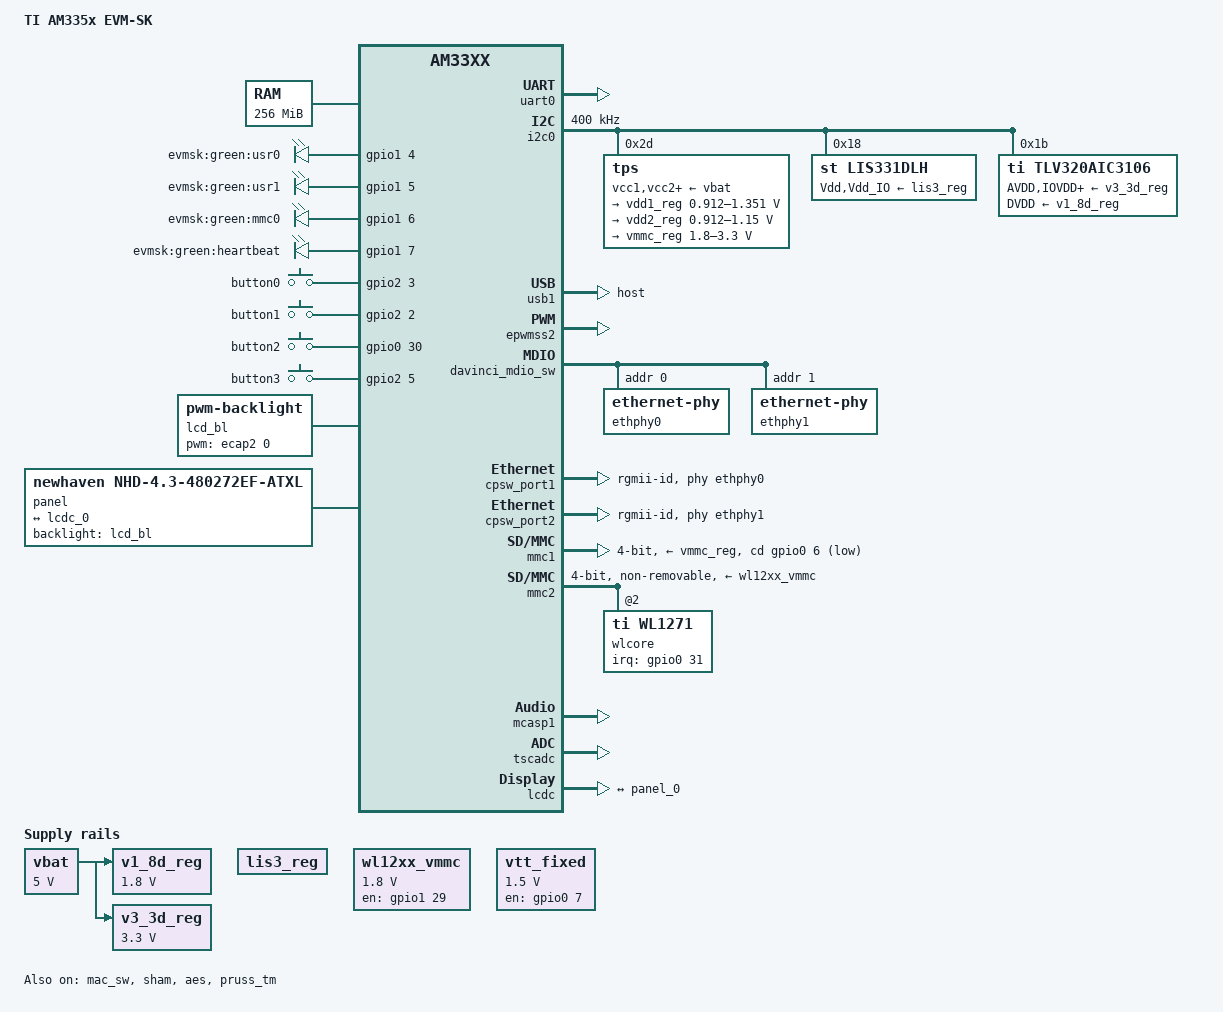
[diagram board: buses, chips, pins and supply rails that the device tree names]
// SPDX-License-Identifier: GPL-2.0-only
/*
 * Copyright (C) 2012 Texas Instruments Incorporated - https://www.ti.com/
 */

/*
 * AM335x Starter Kit
 * http://www.ti.com/tool/tmdssk3358
 */

/dts-v1/;

#include "am33xx.dtsi"
#include <dt-bindings/pwm/pwm.h>
#include <dt-bindings/interrupt-controller/irq.h>

/ {
	model = "TI AM335x EVM-SK";
	compatible = "ti,am335x-evmsk", "ti,am33xx";

	cpus {
		cpu@0 {
			cpu0-supply = <&vdd1_reg>;
		};
	};

	memory@80000000 {
		device_type = "memory";
		reg = <0x80000000 0x10000000>; /* 256 MB */
	};

	chosen {
		stdout-path = &uart0;
	};

	vbat: fixedregulator0 {
		compatible = "regulator-fixed";
		regulator-name = "vbat";
		regulator-min-microvolt = <5000000>;
		regulator-max-microvolt = <5000000>;
		regulator-boot-on;
	};

	lis3_reg: fixedregulator1 {
		compatible = "regulator-fixed";
		regulator-name = "lis3_reg";
		regulator-boot-on;
	};

	wl12xx_vmmc: fixedregulator2 {
		pinctrl-names = "default";
		pinctrl-0 = <&wl12xx_gpio>;
		compatible = "regulator-fixed";
		regulator-name = "vwl1271";
		regulator-min-microvolt = <1800000>;
		regulator-max-microvolt = <1800000>;
		gpio = <&gpio1 29 0>;
		startup-delay-us = <70000>;
		enable-active-high;
	};

	vtt_fixed: fixedregulator3 {
		compatible = "regulator-fixed";
		regulator-name = "vtt";
		regulator-min-microvolt = <1500000>;
		regulator-max-microvolt = <1500000>;
		gpio = <&gpio0 7 GPIO_ACTIVE_HIGH>;
		regulator-always-on;
		regulator-boot-on;
		enable-active-high;
	};

	/* TPS79518 */
	v1_8d_reg: fixedregulator-v1_8d {
		compatible = "regulator-fixed";
		regulator-name = "v1_8d";
		vin-supply = <&vbat>;
		regulator-min-microvolt = <1800000>;
		regulator-max-microvolt = <1800000>;
	};

	/* TPS78633 */
	v3_3d_reg: fixedregulator-v3_3d {
		compatible = "regulator-fixed";
		regulator-name = "v3_3d";
		vin-supply = <&vbat>;
		regulator-min-microvolt = <3300000>;
		regulator-max-microvolt = <3300000>;
	};

	leds {
		pinctrl-names = "default";
		pinctrl-0 = <&user_leds_s0>;

		compatible = "gpio-leds";

		led1 {
			label = "evmsk:green:usr0";
			gpios = <&gpio1 4 GPIO_ACTIVE_HIGH>;
			default-state = "off";
		};

		led2 {
			label = "evmsk:green:usr1";
			gpios = <&gpio1 5 GPIO_ACTIVE_HIGH>;
			default-state = "off";
		};

		led3 {
			label = "evmsk:green:mmc0";
			gpios = <&gpio1 6 GPIO_ACTIVE_HIGH>;
			linux,default-trigger = "mmc0";
			default-state = "off";
		};

		led4 {
			label = "evmsk:green:heartbeat";
			gpios = <&gpio1 7 GPIO_ACTIVE_HIGH>;
			linux,default-trigger = "heartbeat";
			default-state = "off";
		};
	};

	gpio_buttons: gpio_buttons0 {
		compatible = "gpio-keys";
		#address-cells = <1>;
		#size-cells = <0>;

		switch1 {
			label = "button0";
			linux,code = <0x100>;
			gpios = <&gpio2 3 GPIO_ACTIVE_HIGH>;
		};

		switch2 {
			label = "button1";
			linux,code = <0x101>;
			gpios = <&gpio2 2 GPIO_ACTIVE_HIGH>;
		};

		switch3 {
			label = "button2";
			linux,code = <0x102>;
			gpios = <&gpio0 30 GPIO_ACTIVE_HIGH>;
			wakeup-source;
		};

		switch4 {
			label = "button3";
			linux,code = <0x103>;
			gpios = <&gpio2 5 GPIO_ACTIVE_HIGH>;
		};
	};

	lcd_bl: backlight {
		compatible = "pwm-backlight";
		pwms = <&ecap2 0 50000 PWM_POLARITY_INVERTED>;
		brightness-levels = <0 58 61 66 75 90 125 170 255>;
		default-brightness-level = <8>;
	};

	sound {
		compatible = "simple-audio-card";
		simple-audio-card,name = "AM335x-EVMSK";
		simple-audio-card,widgets =
			"Headphone", "Headphone Jack";
		simple-audio-card,routing =
			"Headphone Jack",	"HPLOUT",
			"Headphone Jack",	"HPROUT";
		simple-audio-card,format = "dsp_b";
		simple-audio-card,bitclock-master = <&sound_master>;
		simple-audio-card,frame-master = <&sound_master>;
		simple-audio-card,bitclock-inversion;

		simple-audio-card,cpu {
			sound-dai = <&mcasp1>;
		};

		sound_master: simple-audio-card,codec {
			sound-dai = <&tlv320aic3106>;
			system-clock-frequency = <24000000>;
		};
	};

	panel {
		compatible = "newhaven,nhd-4.3-480272ef-atxl";

		pinctrl-names = "default", "sleep";
		pinctrl-0 = <&lcd_pins_default>;
		pinctrl-1 = <&lcd_pins_sleep>;
		backlight = <&lcd_bl>;

		port {
			panel_0: endpoint@0 {
				remote-endpoint = <&lcdc_0>;
			};
		};
	};
};

&am33xx_pinmux {
	pinctrl-names = "default";
	pinctrl-0 = <&gpio_keys_s0 &clkout2_pin>;

	lcd_pins_default: lcd_pins_default {
		pinctrl-single,pins = <
			AM33XX_PADCONF(AM335X_PIN_GPMC_AD8, PIN_OUTPUT, MUX_MODE1)	/* gpmc_ad8.lcd_data23 */
			AM33XX_PADCONF(AM335X_PIN_GPMC_AD9, PIN_OUTPUT, MUX_MODE1)	/* gpmc_ad9.lcd_data22 */
			AM33XX_PADCONF(AM335X_PIN_GPMC_AD10, PIN_OUTPUT, MUX_MODE1)	/* gpmc_ad10.lcd_data21 */
			AM33XX_PADCONF(AM335X_PIN_GPMC_AD11, PIN_OUTPUT, MUX_MODE1)	/* gpmc_ad11.lcd_data20 */
			AM33XX_PADCONF(AM335X_PIN_GPMC_AD12, PIN_OUTPUT, MUX_MODE1)	/* gpmc_ad12.lcd_data19 */
			AM33XX_PADCONF(AM335X_PIN_GPMC_AD13, PIN_OUTPUT, MUX_MODE1)	/* gpmc_ad13.lcd_data18 */
			AM33XX_PADCONF(AM335X_PIN_GPMC_AD14, PIN_OUTPUT, MUX_MODE1)	/* gpmc_ad14.lcd_data17 */
			AM33XX_PADCONF(AM335X_PIN_GPMC_AD15, PIN_OUTPUT, MUX_MODE1)	/* gpmc_ad15.lcd_data16 */
			AM33XX_PADCONF(AM335X_PIN_LCD_DATA0, PIN_OUTPUT, MUX_MODE0)
			AM33XX_PADCONF(AM335X_PIN_LCD_DATA1, PIN_OUTPUT, MUX_MODE0)
			AM33XX_PADCONF(AM335X_PIN_LCD_DATA2, PIN_OUTPUT, MUX_MODE0)
			AM33XX_PADCONF(AM335X_PIN_LCD_DATA3, PIN_OUTPUT, MUX_MODE0)
			AM33XX_PADCONF(AM335X_PIN_LCD_DATA4, PIN_OUTPUT, MUX_MODE0)
			AM33XX_PADCONF(AM335X_PIN_LCD_DATA5, PIN_OUTPUT, MUX_MODE0)
			AM33XX_PADCONF(AM335X_PIN_LCD_DATA6, PIN_OUTPUT, MUX_MODE0)
			AM33XX_PADCONF(AM335X_PIN_LCD_DATA7, PIN_OUTPUT, MUX_MODE0)
			AM33XX_PADCONF(AM335X_PIN_LCD_DATA8, PIN_OUTPUT, MUX_MODE0)
			AM33XX_PADCONF(AM335X_PIN_LCD_DATA9, PIN_OUTPUT, MUX_MODE0)
			AM33XX_PADCONF(AM335X_PIN_LCD_DATA10, PIN_OUTPUT, MUX_MODE0)
			AM33XX_PADCONF(AM335X_PIN_LCD_DATA11, PIN_OUTPUT, MUX_MODE0)
			AM33XX_PADCONF(AM335X_PIN_LCD_DATA12, PIN_OUTPUT, MUX_MODE0)
			AM33XX_PADCONF(AM335X_PIN_LCD_DATA13, PIN_OUTPUT, MUX_MODE0)
			AM33XX_PADCONF(AM335X_PIN_LCD_DATA14, PIN_OUTPUT, MUX_MODE0)
			AM33XX_PADCONF(AM335X_PIN_LCD_DATA15, PIN_OUTPUT, MUX_MODE0)
			AM33XX_PADCONF(AM335X_PIN_LCD_VSYNC, PIN_OUTPUT, MUX_MODE0)
			AM33XX_PADCONF(AM335X_PIN_LCD_HSYNC, PIN_OUTPUT, MUX_MODE0)
			AM33XX_PADCONF(AM335X_PIN_LCD_PCLK, PIN_OUTPUT, MUX_MODE0)
			AM33XX_PADCONF(AM335X_PIN_LCD_AC_BIAS_EN, PIN_OUTPUT, MUX_MODE0)
		>;
	};

	lcd_pins_sleep: lcd_pins_sleep {
		pinctrl-single,pins = <
			AM33XX_PADCONF(AM335X_PIN_GPMC_AD8, PIN_INPUT_PULLDOWN, MUX_MODE7)	/* gpmc_ad8.lcd_data23 */
			AM33XX_PADCONF(AM335X_PIN_GPMC_AD9, PIN_INPUT_PULLDOWN, MUX_MODE7)	/* gpmc_ad9.lcd_data22 */
			AM33XX_PADCONF(AM335X_PIN_GPMC_AD10, PIN_INPUT_PULLDOWN, MUX_MODE7)	/* gpmc_ad10.lcd_data21 */
			AM33XX_PADCONF(AM335X_PIN_GPMC_AD11, PIN_INPUT_PULLDOWN, MUX_MODE7)	/* gpmc_ad11.lcd_data20 */
			AM33XX_PADCONF(AM335X_PIN_GPMC_AD12, PIN_INPUT_PULLDOWN, MUX_MODE7)	/* gpmc_ad12.lcd_data19 */
			AM33XX_PADCONF(AM335X_PIN_GPMC_AD13, PIN_INPUT_PULLDOWN, MUX_MODE7)	/* gpmc_ad13.lcd_data18 */
			AM33XX_PADCONF(AM335X_PIN_GPMC_AD14, PIN_INPUT_PULLDOWN, MUX_MODE7)	/* gpmc_ad14.lcd_data17 */
			AM33XX_PADCONF(AM335X_PIN_GPMC_AD15, PIN_INPUT_PULLDOWN, MUX_MODE7)	/* gpmc_ad15.lcd_data16 */
			AM33XX_PADCONF(AM335X_PIN_LCD_DATA0, PULL_DISABLE, MUX_MODE7)
			AM33XX_PADCONF(AM335X_PIN_LCD_DATA1, PULL_DISABLE, MUX_MODE7)
			AM33XX_PADCONF(AM335X_PIN_LCD_DATA2, PULL_DISABLE, MUX_MODE7)
			AM33XX_PADCONF(AM335X_PIN_LCD_DATA3, PULL_DISABLE, MUX_MODE7)
			AM33XX_PADCONF(AM335X_PIN_LCD_DATA4, PULL_DISABLE, MUX_MODE7)
			AM33XX_PADCONF(AM335X_PIN_LCD_DATA5, PULL_DISABLE, MUX_MODE7)
			AM33XX_PADCONF(AM335X_PIN_LCD_DATA6, PULL_DISABLE, MUX_MODE7)
			AM33XX_PADCONF(AM335X_PIN_LCD_DATA7, PULL_DISABLE, MUX_MODE7)
			AM33XX_PADCONF(AM335X_PIN_LCD_DATA8, PULL_DISABLE, MUX_MODE7)
			AM33XX_PADCONF(AM335X_PIN_LCD_DATA9, PULL_DISABLE, MUX_MODE7)
			AM33XX_PADCONF(AM335X_PIN_LCD_DATA10, PULL_DISABLE, MUX_MODE7)
			AM33XX_PADCONF(AM335X_PIN_LCD_DATA11, PULL_DISABLE, MUX_MODE7)
			AM33XX_PADCONF(AM335X_PIN_LCD_DATA12, PULL_DISABLE, MUX_MODE7)
			AM33XX_PADCONF(AM335X_PIN_LCD_DATA13, PULL_DISABLE, MUX_MODE7)
			AM33XX_PADCONF(AM335X_PIN_LCD_DATA14, PULL_DISABLE, MUX_MODE7)
			AM33XX_PADCONF(AM335X_PIN_LCD_DATA15, PULL_DISABLE, MUX_MODE7)
			AM33XX_PADCONF(AM335X_PIN_LCD_VSYNC, PIN_INPUT_PULLDOWN, MUX_MODE7)
			AM33XX_PADCONF(AM335X_PIN_LCD_HSYNC, PIN_INPUT_PULLDOWN, MUX_MODE7)
			AM33XX_PADCONF(AM335X_PIN_LCD_PCLK, PIN_INPUT_PULLDOWN, MUX_MODE7)
			AM33XX_PADCONF(AM335X_PIN_LCD_AC_BIAS_EN, PIN_INPUT_PULLDOWN, MUX_MODE7)
		>;
	};


	user_leds_s0: user_leds_s0 {
		pinctrl-single,pins = <
			AM33XX_PADCONF(AM335X_PIN_GPMC_AD4, PIN_OUTPUT_PULLDOWN, MUX_MODE7)	/* gpmc_ad4.gpio1_4 */
			AM33XX_PADCONF(AM335X_PIN_GPMC_AD5, PIN_OUTPUT_PULLDOWN, MUX_MODE7)	/* gpmc_ad5.gpio1_5 */
			AM33XX_PADCONF(AM335X_PIN_GPMC_AD6, PIN_OUTPUT_PULLDOWN, MUX_MODE7)	/* gpmc_ad6.gpio1_6 */
			AM33XX_PADCONF(AM335X_PIN_GPMC_AD7, PIN_OUTPUT_PULLDOWN, MUX_MODE7)	/* gpmc_ad7.gpio1_7 */
		>;
	};

	gpio_keys_s0: gpio_keys_s0 {
		pinctrl-single,pins = <
			AM33XX_PADCONF(AM335X_PIN_GPMC_OEN_REN, PIN_INPUT_PULLDOWN, MUX_MODE7)	/* gpmc_oen_ren.gpio2_3 */
			AM33XX_PADCONF(AM335X_PIN_GPMC_ADVN_ALE, PIN_INPUT_PULLDOWN, MUX_MODE7)	/* gpmc_advn_ale.gpio2_2 */
			AM33XX_PADCONF(AM335X_PIN_GPMC_WAIT0, PIN_INPUT_PULLDOWN, MUX_MODE7)	/* gpmc_wait0.gpio0_30 */
			AM33XX_PADCONF(AM335X_PIN_GPMC_BEN0_CLE, PIN_INPUT_PULLDOWN, MUX_MODE7)	/* gpmc_ben0_cle.gpio2_5 */
		>;
	};

	i2c0_pins: pinmux_i2c0_pins {
		pinctrl-single,pins = <
			AM33XX_PADCONF(AM335X_PIN_I2C0_SDA, PIN_INPUT_PULLUP, MUX_MODE0)
			AM33XX_PADCONF(AM335X_PIN_I2C0_SCL, PIN_INPUT_PULLUP, MUX_MODE0)
		>;
	};

	uart0_pins: pinmux_uart0_pins {
		pinctrl-single,pins = <
			AM33XX_PADCONF(AM335X_PIN_UART0_RXD, PIN_INPUT_PULLUP, MUX_MODE0)
			AM33XX_PADCONF(AM335X_PIN_UART0_TXD, PIN_OUTPUT_PULLDOWN, MUX_MODE0)
		>;
	};

	clkout2_pin: pinmux_clkout2_pin {
		pinctrl-single,pins = <
			AM33XX_PADCONF(AM335X_PIN_XDMA_EVENT_INTR1, PIN_OUTPUT_PULLDOWN, MUX_MODE3)	/* xdma_event_intr1.clkout2 */
		>;
	};

	ecap2_pins: backlight_pins {
		pinctrl-single,pins = <
			AM33XX_PADCONF(AM335X_PIN_MCASP0_AHCLKR, 0x0, MUX_MODE4)	/* mcasp0_ahclkr.ecap2_in_pwm2_out */
		>;
	};

	cpsw_default: cpsw_default {
		pinctrl-single,pins = <
			/* Slave 1 */
			AM33XX_PADCONF(AM335X_PIN_MII1_TX_EN, PIN_OUTPUT_PULLDOWN, MUX_MODE2)	/* mii1_txen.rgmii1_tctl */
			AM33XX_PADCONF(AM335X_PIN_MII1_RX_DV, PIN_INPUT_PULLDOWN, MUX_MODE2)	/* mii1_rxdv.rgmii1_rctl */
			AM33XX_PADCONF(AM335X_PIN_MII1_TXD3, PIN_OUTPUT_PULLDOWN, MUX_MODE2)	/* mii1_txd3.rgmii1_td3 */
			AM33XX_PADCONF(AM335X_PIN_MII1_TXD2, PIN_OUTPUT_PULLDOWN, MUX_MODE2)	/* mii1_txd2.rgmii1_td2 */
			AM33XX_PADCONF(AM335X_PIN_MII1_TXD1, PIN_OUTPUT_PULLDOWN, MUX_MODE2)	/* mii1_txd1.rgmii1_td1 */
			AM33XX_PADCONF(AM335X_PIN_MII1_TXD0, PIN_OUTPUT_PULLDOWN, MUX_MODE2)	/* mii1_txd0.rgmii1_td0 */
			AM33XX_PADCONF(AM335X_PIN_MII1_TX_CLK, PIN_OUTPUT_PULLDOWN, MUX_MODE2)	/* mii1_txclk.rgmii1_tclk */
			AM33XX_PADCONF(AM335X_PIN_MII1_RX_CLK, PIN_INPUT_PULLDOWN, MUX_MODE2)	/* mii1_rxclk.rgmii1_rclk */
			AM33XX_PADCONF(AM335X_PIN_MII1_RXD3, PIN_INPUT_PULLDOWN, MUX_MODE2)	/* mii1_rxd3.rgmii1_rd3 */
			AM33XX_PADCONF(AM335X_PIN_MII1_RXD2, PIN_INPUT_PULLDOWN, MUX_MODE2)	/* mii1_rxd2.rgmii1_rd2 */
			AM33XX_PADCONF(AM335X_PIN_MII1_RXD1, PIN_INPUT_PULLDOWN, MUX_MODE2)	/* mii1_rxd1.rgmii1_rd1 */
			AM33XX_PADCONF(AM335X_PIN_MII1_RXD0, PIN_INPUT_PULLDOWN, MUX_MODE2)	/* mii1_rxd0.rgmii1_rd0 */

			/* Slave 2 */
			AM33XX_PADCONF(AM335X_PIN_GPMC_A0, PIN_OUTPUT_PULLDOWN, MUX_MODE2)	/* gpmc_a0.rgmii2_tctl */
			AM33XX_PADCONF(AM335X_PIN_GPMC_A1, PIN_INPUT_PULLDOWN, MUX_MODE2)	/* gpmc_a1.rgmii2_rctl */
			AM33XX_PADCONF(AM335X_PIN_GPMC_A2, PIN_OUTPUT_PULLDOWN, MUX_MODE2)	/* gpmc_a2.rgmii2_td3 */
			AM33XX_PADCONF(AM335X_PIN_GPMC_A3, PIN_OUTPUT_PULLDOWN, MUX_MODE2)	/* gpmc_a3.rgmii2_td2 */
			AM33XX_PADCONF(AM335X_PIN_GPMC_A4, PIN_OUTPUT_PULLDOWN, MUX_MODE2)	/* gpmc_a4.rgmii2_td1 */
			AM33XX_PADCONF(AM335X_PIN_GPMC_A5, PIN_OUTPUT_PULLDOWN, MUX_MODE2)	/* gpmc_a5.rgmii2_td0 */
			AM33XX_PADCONF(AM335X_PIN_GPMC_A6, PIN_OUTPUT_PULLDOWN, MUX_MODE2)	/* gpmc_a6.rgmii2_tclk */
			AM33XX_PADCONF(AM335X_PIN_GPMC_A7, PIN_INPUT_PULLDOWN, MUX_MODE2)	/* gpmc_a7.rgmii2_rclk */
			AM33XX_PADCONF(AM335X_PIN_GPMC_A8, PIN_INPUT_PULLDOWN, MUX_MODE2)	/* gpmc_a8.rgmii2_rd3 */
			AM33XX_PADCONF(AM335X_PIN_GPMC_A9, PIN_INPUT_PULLDOWN, MUX_MODE2)	/* gpmc_a9.rgmii2_rd2 */
			AM33XX_PADCONF(AM335X_PIN_GPMC_A10, PIN_INPUT_PULLDOWN, MUX_MODE2)	/* gpmc_a10.rgmii2_rd1 */
			AM33XX_PADCONF(AM335X_PIN_GPMC_A11, PIN_INPUT_PULLDOWN, MUX_MODE2)	/* gpmc_a11.rgmii2_rd0 */
		>;
	};

	cpsw_sleep: cpsw_sleep {
		pinctrl-single,pins = <
			/* Slave 1 reset value */
			AM33XX_PADCONF(AM335X_PIN_MII1_TX_EN, PIN_INPUT_PULLDOWN, MUX_MODE7)
			AM33XX_PADCONF(AM335X_PIN_MII1_RX_DV, PIN_INPUT_PULLDOWN, MUX_MODE7)
			AM33XX_PADCONF(AM335X_PIN_MII1_TXD3, PIN_INPUT_PULLDOWN, MUX_MODE7)
			AM33XX_PADCONF(AM335X_PIN_MII1_TXD2, PIN_INPUT_PULLDOWN, MUX_MODE7)
			AM33XX_PADCONF(AM335X_PIN_MII1_TXD1, PIN_INPUT_PULLDOWN, MUX_MODE7)
			AM33XX_PADCONF(AM335X_PIN_MII1_TXD0, PIN_INPUT_PULLDOWN, MUX_MODE7)
			AM33XX_PADCONF(AM335X_PIN_MII1_TX_CLK, PIN_INPUT_PULLDOWN, MUX_MODE7)
			AM33XX_PADCONF(AM335X_PIN_MII1_RX_CLK, PIN_INPUT_PULLDOWN, MUX_MODE7)
			AM33XX_PADCONF(AM335X_PIN_MII1_RXD3, PIN_INPUT_PULLDOWN, MUX_MODE7)
			AM33XX_PADCONF(AM335X_PIN_MII1_RXD2, PIN_INPUT_PULLDOWN, MUX_MODE7)
			AM33XX_PADCONF(AM335X_PIN_MII1_RXD1, PIN_INPUT_PULLDOWN, MUX_MODE7)
			AM33XX_PADCONF(AM335X_PIN_MII1_RXD0, PIN_INPUT_PULLDOWN, MUX_MODE7)

			/* Slave 2 reset value*/
			AM33XX_PADCONF(AM335X_PIN_GPMC_A0, PIN_INPUT_PULLDOWN, MUX_MODE7)
			AM33XX_PADCONF(AM335X_PIN_GPMC_A1, PIN_INPUT_PULLDOWN, MUX_MODE7)
			AM33XX_PADCONF(AM335X_PIN_GPMC_A2, PIN_INPUT_PULLDOWN, MUX_MODE7)
			AM33XX_PADCONF(AM335X_PIN_GPMC_A3, PIN_INPUT_PULLDOWN, MUX_MODE7)
			AM33XX_PADCONF(AM335X_PIN_GPMC_A4, PIN_INPUT_PULLDOWN, MUX_MODE7)
			AM33XX_PADCONF(AM335X_PIN_GPMC_A5, PIN_INPUT_PULLDOWN, MUX_MODE7)
			AM33XX_PADCONF(AM335X_PIN_GPMC_A6, PIN_INPUT_PULLDOWN, MUX_MODE7)
			AM33XX_PADCONF(AM335X_PIN_GPMC_A7, PIN_INPUT_PULLDOWN, MUX_MODE7)
			AM33XX_PADCONF(AM335X_PIN_GPMC_A8, PIN_INPUT_PULLDOWN, MUX_MODE7)
			AM33XX_PADCONF(AM335X_PIN_GPMC_A9, PIN_INPUT_PULLDOWN, MUX_MODE7)
			AM33XX_PADCONF(AM335X_PIN_GPMC_A10, PIN_INPUT_PULLDOWN, MUX_MODE7)
			AM33XX_PADCONF(AM335X_PIN_GPMC_A11, PIN_INPUT_PULLDOWN, MUX_MODE7)
		>;
	};

	davinci_mdio_default: davinci_mdio_default {
		pinctrl-single,pins = <
			/* MDIO */
			AM33XX_PADCONF(AM335X_PIN_MDIO, PIN_INPUT_PULLUP | SLEWCTRL_FAST, MUX_MODE0)
			AM33XX_PADCONF(AM335X_PIN_MDC, PIN_OUTPUT_PULLUP, MUX_MODE0)
		>;
	};

	davinci_mdio_sleep: davinci_mdio_sleep {
		pinctrl-single,pins = <
			/* MDIO reset value */
			AM33XX_PADCONF(AM335X_PIN_MDIO, PIN_INPUT_PULLDOWN, MUX_MODE7)
			AM33XX_PADCONF(AM335X_PIN_MDC, PIN_INPUT_PULLDOWN, MUX_MODE7)
		>;
	};

	mmc1_pins: pinmux_mmc1_pins {
		pinctrl-single,pins = <
			AM33XX_PADCONF(AM335X_PIN_SPI0_CS1, PIN_INPUT, MUX_MODE7) 		/* spi0_cs1.gpio0_6 */
			AM33XX_PADCONF(AM335X_PIN_MMC0_DAT0, PIN_INPUT_PULLUP, MUX_MODE0)
			AM33XX_PADCONF(AM335X_PIN_MMC0_DAT1, PIN_INPUT_PULLUP, MUX_MODE0)
			AM33XX_PADCONF(AM335X_PIN_MMC0_DAT2, PIN_INPUT_PULLUP, MUX_MODE0)
			AM33XX_PADCONF(AM335X_PIN_MMC0_DAT3, PIN_INPUT_PULLUP, MUX_MODE0)
			AM33XX_PADCONF(AM335X_PIN_MMC0_CMD, PIN_INPUT_PULLUP, MUX_MODE0)
			AM33XX_PADCONF(AM335X_PIN_MMC0_CLK, PIN_INPUT_PULLUP, MUX_MODE0)
			AM33XX_PADCONF(AM335X_PIN_MCASP0_ACLKR, PIN_INPUT, MUX_MODE4)		/* mcasp0_aclkr.mmc0_sdwp */
		>;
	};

	mcasp1_pins: mcasp1_pins {
		pinctrl-single,pins = <
			AM33XX_PADCONF(AM335X_PIN_MII1_CRS, PIN_INPUT_PULLDOWN, MUX_MODE4) /* mii1_crs.mcasp1_aclkx */
			AM33XX_PADCONF(AM335X_PIN_MII1_RX_ER, PIN_INPUT_PULLDOWN, MUX_MODE4) /* mii1_rxerr.mcasp1_fsx */
			AM33XX_PADCONF(AM335X_PIN_MII1_COL, PIN_OUTPUT_PULLDOWN, MUX_MODE4) /* mii1_col.mcasp1_axr2 */
			AM33XX_PADCONF(AM335X_PIN_RMII1_REF_CLK, PIN_INPUT_PULLDOWN, MUX_MODE4) /* rmii1_ref_clk.mcasp1_axr3 */
		>;
	};

	mcasp1_pins_sleep: mcasp1_pins_sleep {
		pinctrl-single,pins = <
			AM33XX_PADCONF(AM335X_PIN_MII1_CRS, PIN_INPUT_PULLDOWN, MUX_MODE7)
			AM33XX_PADCONF(AM335X_PIN_MII1_RX_ER, PIN_INPUT_PULLDOWN, MUX_MODE7)
			AM33XX_PADCONF(AM335X_PIN_MII1_COL, PIN_INPUT_PULLDOWN, MUX_MODE7)
			AM33XX_PADCONF(AM335X_PIN_RMII1_REF_CLK, PIN_INPUT_PULLDOWN, MUX_MODE7)
		>;
	};

	mmc2_pins: pinmux_mmc2_pins {
		pinctrl-single,pins = <
			AM33XX_PADCONF(AM335X_PIN_GPMC_WPN, PIN_INPUT_PULLUP, MUX_MODE7) /* gpmc_wpn.gpio0_31 */
			AM33XX_PADCONF(AM335X_PIN_GPMC_CSN1, PIN_INPUT_PULLUP, MUX_MODE2) /* gpmc_csn1.mmc1_clk */
			AM33XX_PADCONF(AM335X_PIN_GPMC_CSN2, PIN_INPUT_PULLUP, MUX_MODE2) /* gpmc_csn2.mmc1_cmd */
			AM33XX_PADCONF(AM335X_PIN_GPMC_AD0, PIN_INPUT_PULLUP, MUX_MODE1) /* gpmc_ad0.mmc1_dat0 */
			AM33XX_PADCONF(AM335X_PIN_GPMC_AD1, PIN_INPUT_PULLUP, MUX_MODE1) /* gpmc_ad1.mmc1_dat1 */
			AM33XX_PADCONF(AM335X_PIN_GPMC_AD2, PIN_INPUT_PULLUP, MUX_MODE1) /* gpmc_ad2.mmc1_dat2 */
			AM33XX_PADCONF(AM335X_PIN_GPMC_AD3, PIN_INPUT_PULLUP, MUX_MODE1) /* gpmc_ad3.mmc1_dat3 */
		>;
	};

	wl12xx_gpio: pinmux_wl12xx_gpio {
		pinctrl-single,pins = <
			AM33XX_PADCONF(AM335X_PIN_GPMC_CSN0, PIN_OUTPUT_PULLUP, MUX_MODE7) /* gpmc_csn0.gpio1_29 */
		>;
	};
};

&uart0 {
	pinctrl-names = "default";
	pinctrl-0 = <&uart0_pins>;

	status = "okay";
};

&i2c0 {
	pinctrl-names = "default";
	pinctrl-0 = <&i2c0_pins>;

	status = "okay";
	clock-frequency = <400000>;

	tps: tps@2d {
		reg = <0x2d>;
	};

	lis331dlh: lis331dlh@18 {
		compatible = "st,lis331dlh", "st,lis3lv02d";
		reg = <0x18>;
		Vdd-supply = <&lis3_reg>;
		Vdd_IO-supply = <&lis3_reg>;

		st,click-single-x;
		st,click-single-y;
		st,click-single-z;
		st,click-thresh-x = <10>;
		st,click-thresh-y = <10>;
		st,click-thresh-z = <10>;
		st,irq1-click;
		st,irq2-click;
		st,wakeup-x-lo;
		st,wakeup-x-hi;
		st,wakeup-y-lo;
		st,wakeup-y-hi;
		st,wakeup-z-lo;
		st,wakeup-z-hi;
		st,min-limit-x = <120>;
		st,min-limit-y = <120>;
		st,min-limit-z = <140>;
		st,max-limit-x = <550>;
		st,max-limit-y = <550>;
		st,max-limit-z = <750>;
	};

	tlv320aic3106: tlv320aic3106@1b {
		#sound-dai-cells = <0>;
		compatible = "ti,tlv320aic3106";
		reg = <0x1b>;
		status = "okay";

		/* Regulators */
		AVDD-supply = <&v3_3d_reg>;
		IOVDD-supply = <&v3_3d_reg>;
		DRVDD-supply = <&v3_3d_reg>;
		DVDD-supply = <&v1_8d_reg>;
	};
};

&usb1 {
	dr_mode = "host";
};

&epwmss2 {
	status = "okay";

	ecap2: pwm@100 {
		status = "okay";
		pinctrl-names = "default";
		pinctrl-0 = <&ecap2_pins>;
	};
};

#include "tps65910.dtsi"

&tps {
	vcc1-supply = <&vbat>;
	vcc2-supply = <&vbat>;
	vcc3-supply = <&vbat>;
	vcc4-supply = <&vbat>;
	vcc5-supply = <&vbat>;
	vcc6-supply = <&vbat>;
	vcc7-supply = <&vbat>;
	vccio-supply = <&vbat>;

	regulators {
		vrtc_reg: regulator@0 {
			regulator-always-on;
		};

		vio_reg: regulator@1 {
			regulator-always-on;
		};

		vdd1_reg: regulator@2 {
			/* VDD_MPU voltage limits 0.95V - 1.26V with +/-4% tolerance */
			regulator-name = "vdd_mpu";
			regulator-min-microvolt = <912500>;
			regulator-max-microvolt = <1351500>;
			regulator-boot-on;
			regulator-always-on;
		};

		vdd2_reg: regulator@3 {
			/* VDD_CORE voltage limits 0.95V - 1.1V with +/-4% tolerance */
			regulator-name = "vdd_core";
			regulator-min-microvolt = <912500>;
			regulator-max-microvolt = <1150000>;
			regulator-boot-on;
			regulator-always-on;
		};

		vdd3_reg: regulator@4 {
			regulator-always-on;
		};

		vdig1_reg: regulator@5 {
			regulator-always-on;
		};

		vdig2_reg: regulator@6 {
			regulator-always-on;
		};

		vpll_reg: regulator@7 {
			regulator-always-on;
		};

		vdac_reg: regulator@8 {
			regulator-always-on;
		};

		vaux1_reg: regulator@9 {
			regulator-always-on;
		};

		vaux2_reg: regulator@10 {
			regulator-always-on;
		};

		vaux33_reg: regulator@11 {
			regulator-always-on;
		};

		vmmc_reg: regulator@12 {
			regulator-min-microvolt = <1800000>;
			regulator-max-microvolt = <3300000>;
			regulator-always-on;
		};
	};
};

&mac_sw {
	pinctrl-names = "default", "sleep";
	pinctrl-0 = <&cpsw_default>;
	pinctrl-1 = <&cpsw_sleep>;
	status = "okay";
};

&davinci_mdio_sw {
	pinctrl-names = "default", "sleep";
	pinctrl-0 = <&davinci_mdio_default>;
	pinctrl-1 = <&davinci_mdio_sleep>;

	ethphy0: ethernet-phy@0 {
		reg = <0>;
	};

	ethphy1: ethernet-phy@1 {
		reg = <1>;
	};
};

&cpsw_port1 {
	phy-handle = <&ethphy0>;
	phy-mode = "rgmii-id";
	ti,dual-emac-pvid = <1>;
};

&cpsw_port2 {
	phy-handle = <&ethphy1>;
	phy-mode = "rgmii-id";
	ti,dual-emac-pvid = <2>;
};

&mmc1 {
	status = "okay";
	vmmc-supply = <&vmmc_reg>;
	bus-width = <4>;
	pinctrl-names = "default";
	pinctrl-0 = <&mmc1_pins>;
	cd-gpios = <&gpio0 6 GPIO_ACTIVE_LOW>;
};

&sham {
	status = "okay";
};

&aes {
	status = "okay";
};

&gpio0_target {
	ti,no-reset-on-init;
};

&mmc2 {
	status = "okay";
	vmmc-supply = <&wl12xx_vmmc>;
	non-removable;
	bus-width = <4>;
	cap-power-off-card;
	keep-power-in-suspend;
	pinctrl-names = "default";
	pinctrl-0 = <&mmc2_pins>;

	#address-cells = <1>;
	#size-cells = <0>;
	wlcore: wlcore@2 {
		compatible = "ti,wl1271";
		reg = <2>;
		interrupt-parent = <&gpio0>;
		interrupts = <31 IRQ_TYPE_EDGE_RISING>; /* gpio 31 */
		ref-clock-frequency = <38400000>;
	};
};

&mcasp1 {
	#sound-dai-cells = <0>;
	pinctrl-names = "default", "sleep";
	pinctrl-0 = <&mcasp1_pins>;
	pinctrl-1 = <&mcasp1_pins_sleep>;

	status = "okay";

	op-mode = <0>;          /* MCASP_IIS_MODE */
	tdm-slots = <2>;
	/* 4 serializers */
	serial-dir = <  /* 0: INACTIVE, 1: TX, 2: RX */
		0 0 1 2
	>;
	tx-num-evt = <32>;
	rx-num-evt = <32>;
};

&tscadc {
	status = "okay";
	tsc {
		ti,wires = <4>;
		ti,x-plate-resistance = <200>;
		ti,coordinate-readouts = <5>;
		ti,wire-config = <0x00 0x11 0x22 0x33>;
	};
};

&lcdc {
	status = "okay";

	blue-and-red-wiring = "crossed";

	port {
		lcdc_0: endpoint@0 {
			remote-endpoint = <&panel_0>;
		};
	};
};

&rtc {
	clocks = <&clk_32768_ck>, <&clk_24mhz_clkctrl AM3_CLK_24MHZ_CLKDIV32K_CLKCTRL 0>;
	clock-names = "ext-clk", "int-clk";
};

&pruss_tm {
	status = "okay";
};
